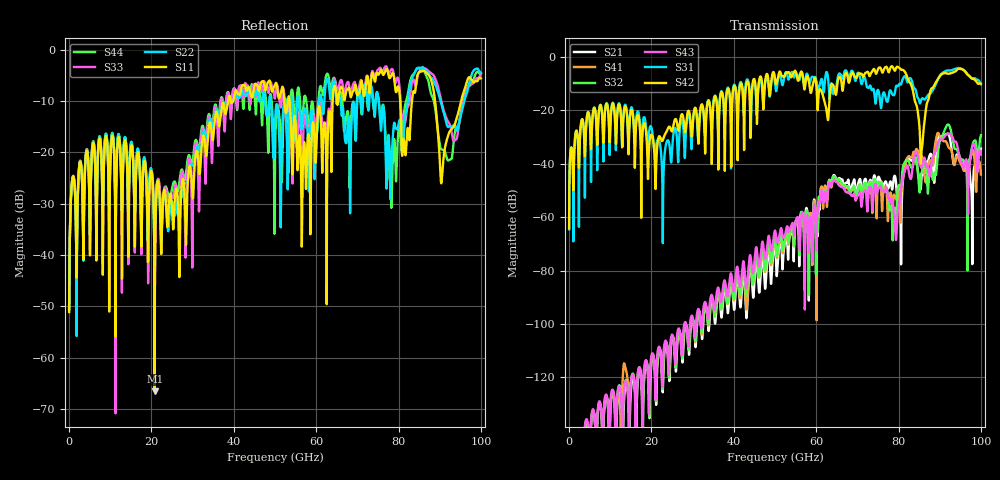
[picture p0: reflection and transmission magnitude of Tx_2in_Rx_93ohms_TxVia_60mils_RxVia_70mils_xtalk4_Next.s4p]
! Info: Touchstone file created by Circ.  Input file=Tx_2in_Rx_93ohms_TxVia_60mils_RxVia_70mils.circ
# Hz S RI R 50
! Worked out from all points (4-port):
!   10000 points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, 10 MHz to 100 GHz, reference 50 ohm
!   strongest paths, dB at 10 MHz, 25.01 GHz, 50.01 GHz, 75.01 GHz, 100 GHz:
!     S42: -64.2, -27.8, -8.2, -4.6, -10.0
!     S31: -64.6, -35.1, -10.0, -12.3, -10.2
!     S43: -159.0, -104.0, -65.0, -49.6, -36.6
!     S32: -194.2, -104.6, -67.4, -47.3, -29.3
!     S41: -160.8, -104.8, -68.7, -48.0, -44.0
!     S21: -195.3, -105.5, -70.8, -45.3, -34.3
!   lowest |S11| = -66.6 dB at 20.79 GHz (marker M1), VSWR 1.00, Z = 50 - j0.0461 ohm
!   |S11| at or under -10 dB: start of sweep to 38.6 GHz; 53.57 GHz to 64.01 GHz (10.44 GHz wide, 17.8 % of centre); 88.87 GHz to 95.21 GHz (6.334 GHz wide, 6.88 % of centre)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
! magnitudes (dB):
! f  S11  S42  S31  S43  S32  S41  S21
! 10 MHz  -51.1  -64.2  -64.6  -159.0  -194.2  -160.8  -195.3
! 7.59 GHz  -17.8  -18.0  -17.9  -129.6  -130.0  -130.1  -130.3
! 20.79 GHz  -66.6  -38.5  -35.4  -117.8  -116.3  -116.4  -115.2
! 51.23 GHz  -9.1  -5.5  -6.7  -65.5  -67.0  -68.2  -69.4
! 80 GHz  -7.2  -3.9  -10.5  -56.2  -48.2  -50.3  -48.9
! 85.61 GHz  -4.2  -34.9  -15.7  -41.3  -43.4  -37.1  -44.5
! 100 GHz  -5.6  -10.0  -10.2  -36.6  -29.3  -44.0  -34.3
